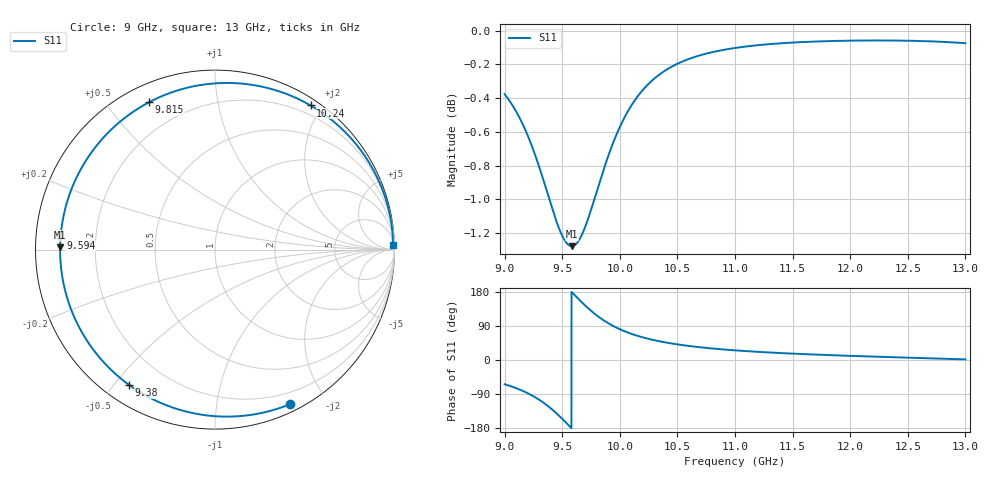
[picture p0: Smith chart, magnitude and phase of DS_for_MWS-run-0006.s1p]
! TOUCHSTONE file generated by CST DESIGN STUDIO
! Date and time: Tue Feb  4 18:28:27 2025
! Project name: C:\Work\MatlabApps\UnitCellOptimizationMatlab\CST\unitcell.cst
! Tree item: Tasks\Sweep1\SPara1\S-Parameters
! Header version: 2024
! Port assignment regex: !\s*Touchstone port\s*([0-9]+)\s*=\s*(CST MWS port|CST DES external port|CST DES block port)\s*(.+)\s* \(\"(.*)\"\)(\s*mode\s*([0-9]+))?.*
! Touchstone port assignment:
! Touchstone port 1 = CST DES external port 1 ("")
# GHz S MA R 50
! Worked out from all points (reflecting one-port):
!   4001 points, 9 GHz to 13 GHz, reference 50 ohm
!   lowest |S11| = -1.3 dB at 9.583 GHz (marker M1), VSWR 13.62, Z = 3.67 + j0.363 ohm
!   phase of S11 starts at -64 deg and turns -294 deg over the sweep
!   S11 on the Smith chart (normalised r, x): 9 GHz: 0.08, -1.60; 9.38 GHz: 0.07, -0.55; 9.594 GHz: 0.07, +0.04; 9.815 GHz: 0.07, +0.64; 10.24 GHz: 0.08, +1.86; 13 GHz: 21, +67
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9  0.9576 -64.0
9.045  0.953 -68.3
9.113  0.9446 -75.8
9.229  0.9257 -92.1
9.309  0.9092 -106.7
9.38  0.8931 -122.5
9.439  0.8801 -137.6
9.5  0.8693 -155.1
9.542  0.8647 -168.0
9.583  0.8632 179.2
9.594  0.8633 175.7
9.649  0.8671 158.6
9.711  0.8768 140.4
9.763  0.8877 126.6
9.815  0.8995 114.2
9.856  0.9087 105.4
9.899  0.9179 97.2
10  0.9363 81.2
10.114  0.9518 67.7
10.241  0.9637 56.4
10.361  0.9715 48.4
10.5  0.9777 41.2
10.721  0.9839 32.8
11  0.9883 25.5
11.5  0.9919 16.8
12  0.9932 10.9
12.5  0.9932 6.2
13  0.9915 1.6
